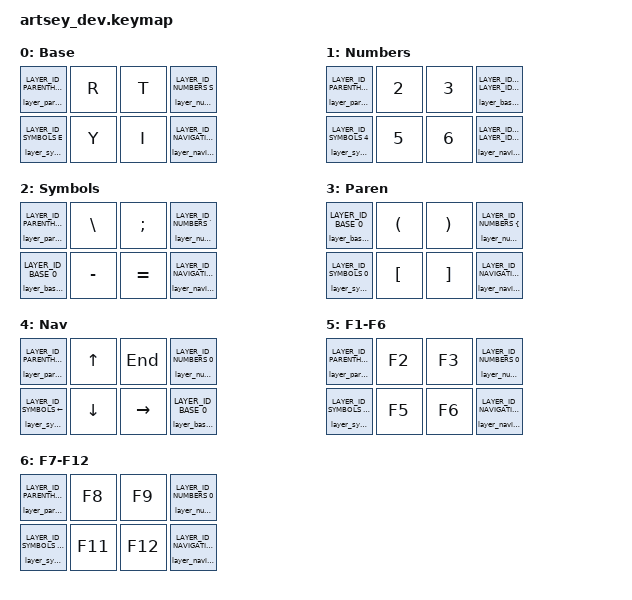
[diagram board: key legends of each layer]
/*
 * Copyright (c) 2020 The ZMK Contributors
 *
 * SPDX-License-Identifier: MIT
 */

#include <behaviors.dtsi>
#include <dt-bindings/zmk/keys.h>

// ARTS Row
#define KEY_A 4
#define KEY_R 5
#define KEY_T 6
#define KEY_S 7
// EYIO Row
#define KEY_E 0
#define KEY_Y 1
#define KEY_I 2
#define KEY_O 3

#include "../../../artsey.dtsi"

/ {
	keymap {
		compatible = "zmk,keymap";
		base {
			label = "Base";
			bindings = <
				&layer_parentheticals_kp LAYER_ID_PARENTHETICALS A    &kp R     &kp T     &layer_numbers_kp LAYER_ID_NUMBERS S
				&layer_symbols_kp LAYER_ID_SYMBOLS E                  &kp Y     &kp I     &layer_navigation_kp LAYER_ID_NAVIGATION O
			>;
		};
		numbers {
			label = "Numbers";
			bindings = <
				&layer_parentheticals_kp LAYER_ID_PARENTHETICALS N1   &kp N2    &kp N3    &layer_base_sl LAYER_ID_BASE LAYER_ID_F_ONE_SIX
				&layer_symbols_kp LAYER_ID_SYMBOLS N4                 &kp N5    &kp N6    &layer_navigation_sl LAYER_ID_NAVIGATION LAYER_ID_F_SEVEN_TWELVE
			>;
		};
		symbols {
			label = "Symbols";
			bindings = <
				&layer_parentheticals_none LAYER_ID_PARENTHETICALS 0  &kp BSLH  &kp SEMI  &layer_numbers_kp LAYER_ID_NUMBERS GRAVE
				&layer_base_none LAYER_ID_BASE 0                      &kp MINUS &kp EQUAL &layer_navigation_none LAYER_ID_NAVIGATION 0
			>;
		};
		parentheticals {
			label = "Paren";
			bindings = <
				&layer_base_none LAYER_ID_BASE 0                      &kp LPAR  &kp RPAR  &layer_numbers_kp LAYER_ID_NUMBERS LBRC
				&layer_symbols_none LAYER_ID_SYMBOLS 0                &kp LBKT  &kp RBKT  &layer_navigation_kp LAYER_ID_NAVIGATION RBRC
			>;
		};
		navigation {
			label = "Nav";
			bindings = <
				&layer_parentheticals_kp LAYER_ID_PARENTHETICALS HOME &kp UP    &kp END   &layer_numbers_none LAYER_ID_NUMBERS 0
				&layer_symbols_kp LAYER_ID_SYMBOLS LEFT               &kp DOWN  &kp RIGHT &layer_base_none LAYER_ID_BASE 0
			>;
		};
		f_one_to_six{
			label = "F1-F6";
			bindings = <
				&layer_parentheticals_kp LAYER_ID_PARENTHETICALS F1   &kp F2    &kp F3    &layer_numbers_none LAYER_ID_NUMBERS 0
				&layer_symbols_kp LAYER_ID_SYMBOLS F4                 &kp F5    &kp F6    &layer_navigation_none LAYER_ID_NAVIGATION 0
			>;
		};
		f_seven_to_twelve {
			label = "F7-F12";
			bindings = <
				&layer_parentheticals_kp LAYER_ID_PARENTHETICALS F7   &kp F8    &kp F9    &layer_numbers_none LAYER_ID_NUMBERS 0
				&layer_symbols_kp LAYER_ID_SYMBOLS F10                &kp F11   &kp F12   &layer_navigation_none LAYER_ID_NAVIGATION 0
			>;
		};
	};
};
